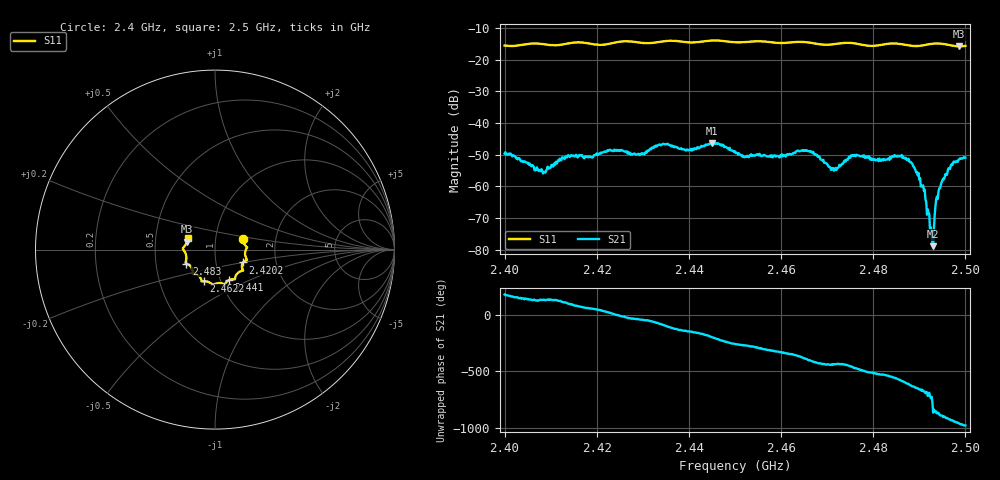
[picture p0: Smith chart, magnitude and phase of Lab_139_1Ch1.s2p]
# Hz S RI R 50
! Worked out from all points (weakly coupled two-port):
!   601 points, 2.4 GHz to 2.5 GHz, reference 50 ohm
!   highest |S21| = -46.24 dB at 2.445 GHz (marker M1); lowest = -78.8 dB at 2.493 GHz (marker M2)
!   lowest |S11| = -15.8 dB at 2.4987 GHz (marker M3), VSWR 1.39, Z = 36.4 + j3.3 ohm
!   |S11| at or under -10 dB: start of sweep to end of sweep
!   S12 and S22 are empty: the file has one direction only
!   S11 on the Smith chart (normalised r, x): 2.4 GHz: 1.36, +0.17; 2.4202 GHz: 1.35, -0.20; 2.441 GHz: 1.10, -0.39; 2.4622 GHz: 0.83, -0.30; 2.483 GHz: 0.72, -0.12; 2.5 GHz: 0.73, +0.09
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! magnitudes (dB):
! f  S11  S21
! 2.4 GHz  -15.5  -49.6
! 2.4083 GHz  -15.1  -55.9
! 2.4167 GHz  -14.6  -50.4
! 2.4202 GHz  -15.3  -50.1
! 2.4333 GHz  -14.4  -47.0
! 2.441 GHz  -14.6  -48.0
! 2.445 GHz  -14.0  -46.2
! 2.45 GHz  -14.5  -48.9
! 2.4622 GHz  -14.5  -49.8
! 2.4667 GHz  -14.7  -49.1
! 2.4712 GHz  -15.2  -54.6
! 2.4757 GHz  -14.8  -50.3
! 2.483 GHz  -15.0  -51.5
! 2.4833 GHz  -15.0  -51.1
! 2.4887 GHz  -15.7  -53.6
! 2.4907 GHz  -15.5  -60.0
! 2.4925 GHz  -15.0  -72.9
! 2.493 GHz  -15.0  -78.8
! 2.4938 GHz  -14.9  -63.2
! 2.4947 GHz  -15.0  -59.5
! 2.4987 GHz  -15.8  -51.4
! 2.5 GHz  -15.6  -50.9
